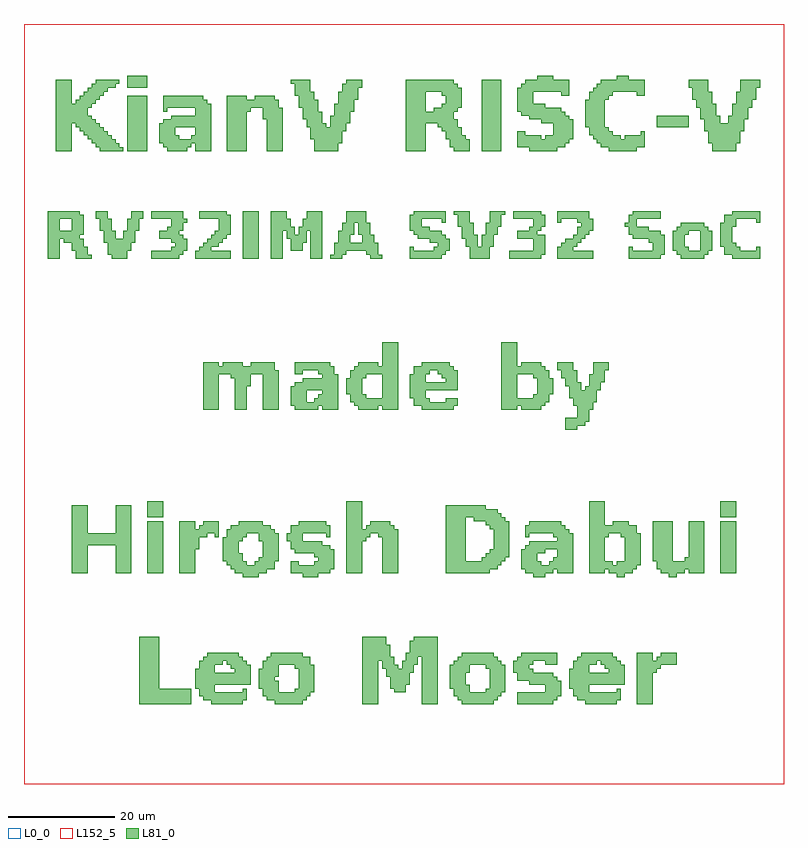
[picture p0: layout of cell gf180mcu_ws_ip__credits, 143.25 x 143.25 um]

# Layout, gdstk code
import gdstk
lib = gdstk.Library(unit=1e-6, precision=1e-09)
def R(c, l, rs):  # rectangles x0, y0, x1, y1
    for r in rs: c.add(gdstk.rectangle(r[:2], r[2:], *l))
def P(c, l, *ps):  # polygons
    for p in ps: c.add(gdstk.Polygon(p, *l))
L0_0 = (0, 0)
L81_0 = (81, 0)
L152_5 = (152, 5)

gf180mcu_ws_ip__credits = lib.new_cell('gf180mcu_ws_ip__credits')
R(gf180mcu_ws_ip__credits, L0_0, [(0,0,143.25,143.25)])
R(gf180mcu_ws_ip__credits, L81_0, [(23.25,39.75,26.25,49.5), (131.25,39.75,134.25,49.5), (23.25,50.25,26.25,53.25), (131.25,50.25,134.25,53.25), (41.25,99,44.25,108), (19.5,119.25,23.25,129.75), (86.25,119.25,90,132.75), (119.25,123.75,125.25,126), (19.5,131.25,23.25,133.5)])
P(gf180mcu_ws_ip__credits, L81_0, [(35.25,15),(35.25,15.75),(33.75,15.75),(33.75,16.5),(33,16.5),(33,18),(32.25,18),(32.25,21.75),(33,21.75),(33,23.25),(37.5,23.25),(37.5,22.5),(36,22.5),(36,21),(39.75,21),(39.75,21.75),(39,21.75),(39,22.5),(38.25,22.5),(38.25,23.25),(33.75,23.25),(33.75,24),(34.5,24),(34.5,24.75),(40.5,24.75),(40.5,24),(41.25,24),(41.25,23.25),(42,23.25),(42,22.5),(42.75,22.5),(42.75,18.75),(36,18.75),(36,17.25),(41.25,17.25),(41.25,18),(42,18),(42,15.75),(41.25,15.75),(41.25,15)],
  [(47.25,15),(47.25,15.75),(45.75,15.75),(45.75,16.5),(45,16.5),(45,18),(44.25,18),(44.25,21.75),(45,21.75),(45,22.5),(48,22.5),(48,20.25),(47.25,20.25),(47.25,19.5),(48,19.5),(48,17.25),(51,17.25),(51,18),(51.75,18),(51.75,21.75),(51,21.75),(51,22.5),(45,22.5),(45,23.25),(45.75,23.25),(45.75,24),(46.5,24),(46.5,24.75),(52.5,24.75),(52.5,24),(54,24),(54,22.5),(54.75,22.5),(54.75,17.25),(54,17.25),(54,16.5),(53.25,16.5),(53.25,15.75),(52.5,15.75),(52.5,15)],
  [(82.5,15),(82.5,15.75),(81.75,15.75),(81.75,16.5),(81,16.5),(81,18),(80.25,18),(80.25,22.5),(84,22.5),(84,21),(83.25,21),(83.25,18.75),(84,18.75),(84,17.25),(87,17.25),(87,18),(87.75,18),(87.75,21.75),(87,21.75),(87,22.5),(81,22.5),(81,23.25),(81.75,23.25),(81.75,24),(82.5,24),(82.5,24.75),(88.5,24.75),(88.5,24),(89.25,24),(89.25,23.25),(90,23.25),(90,22.5),(90.75,22.5),(90.75,17.25),(90,17.25),(90,16.5),(89.25,16.5),(89.25,15.75),(88.5,15.75),(88.5,15)],
  [(93,15),(93,17.25),(98.25,17.25),(98.25,18.75),(95.25,18.75),(95.25,19.5),(93,19.5),(93,21),(92.25,21),(92.25,23.25),(93,23.25),(93,24),(93.75,24),(93.75,24.75),(100.5,24.75),(100.5,22.5),(98.25,22.5),(98.25,23.25),(96,23.25),(96,22.5),(95.25,22.5),(95.25,21.75),(96,21.75),(96,21),(99.75,21),(99.75,20.25),(100.5,20.25),(100.5,19.5),(101.25,19.5),(101.25,16.5),(100.5,16.5),(100.5,15.75),(99.75,15.75),(99.75,15)],
  [(105.75,15),(105.75,15.75),(104.25,15.75),(104.25,16.5),(103.5,16.5),(103.5,18),(102.75,18),(102.75,21.75),(103.5,21.75),(103.5,23.25),(108,23.25),(108,22.5),(106.5,22.5),(106.5,21),(110.25,21),(110.25,21.75),(109.5,21.75),(109.5,22.5),(108.75,22.5),(108.75,23.25),(104.25,23.25),(104.25,24),(105,24),(105,24.75),(111,24.75),(111,24),(111.75,24),(111.75,23.25),(112.5,23.25),(112.5,22.5),(113.25,22.5),(113.25,18.75),(106.5,18.75),(106.5,17.25),(111.75,17.25),(111.75,18),(112.5,18),(112.5,15.75),(111.75,15.75),(111.75,15)],
  [(115.5,15),(115.5,24.75),(118.5,24.75),(118.5,23.25),(119.25,23.25),(119.25,24),(120,24),(120,24.75),(123,24.75),(123,22.5),(120,22.5),(120,21.75),(119.25,21.75),(119.25,21),(118.5,21),(118.5,15)],
  [(21.75,15),(21.75,27.75),(25.5,27.75),(25.5,18),(31.5,18),(31.5,15)],
  [(63.75,15),(63.75,27.75),(68.25,27.75),(68.25,26.25),(69,26.25),(69,24),(69.75,24),(69.75,22.5),(70.5,22.5),(70.5,21.75),(71.25,21.75),(71.25,23.25),(72,23.25),(72,24.75),(72.75,24.75),(72.75,27),(73.5,27),(73.5,27.75),(78,27.75),(78,15),(75,15),(75,24),(74.25,24),(74.25,22.5),(73.5,22.5),(73.5,21),(72.75,21),(72.75,18.75),(72,18.75),(72,17.25),(69.75,17.25),(69.75,18),(69,18),(69,20.25),(68.25,20.25),(68.25,21.75),(67.5,21.75),(67.5,23.25),(66.75,23.25),(66.75,15)],
  [(29.25,39.75),(29.25,49.5),(32.25,49.5),(32.25,48),(33,48),(33,48.75),(33.75,48.75),(33.75,49.5),(36.75,49.5),(36.75,46.5),(36,46.5),(36,47.25),(34.5,47.25),(34.5,46.5),(33,46.5),(33,44.25),(32.25,44.25),(32.25,39.75)],
  [(41.25,39),(41.25,39.75),(39.75,39.75),(39.75,40.5),(39,40.5),(39,41.25),(38.25,41.25),(38.25,42),(37.5,42),(37.5,46.5),(38.25,46.5),(38.25,47.25),(42,47.25),(42,46.5),(41.25,46.5),(41.25,45.75),(40.5,45.75),(40.5,43.5),(41.25,43.5),(41.25,42),(42,42),(42,41.25),(43.5,41.25),(43.5,42),(44.25,42),(44.25,42.75),(45,42.75),(45,45.75),(44.25,45.75),(44.25,47.25),(38.25,47.25),(38.25,48),(39,48),(39,48.75),(40.5,48.75),(40.5,49.5),(45,49.5),(45,48.75),(46.5,48.75),(46.5,48),(47.25,48),(47.25,47.25),(48,47.25),(48,42),(47.25,42),(47.25,40.5),(45.75,40.5),(45.75,39.75),(44.25,39.75),(44.25,39)],
  [(52.5,39),(52.5,39.75),(50.25,39.75),(50.25,42),(51.75,42),(51.75,41.25),(54.75,41.25),(54.75,42),(55.5,42),(55.5,42.75),(54.75,42.75),(54.75,43.5),(51,43.5),(51,44.25),(50.25,44.25),(50.25,45.75),(49.5,45.75),(49.5,47.25),(50.25,47.25),(50.25,48.75),(51.75,48.75),(51.75,49.5),(57,49.5),(57,48.75),(57.75,48.75),(57.75,46.5),(57,46.5),(57,47.25),(52.5,47.25),(52.5,45.75),(56.25,45.75),(56.25,45),(57.75,45),(57.75,44.25),(58.5,44.25),(58.5,40.5),(57.75,40.5),(57.75,39.75),(55.5,39.75),(55.5,39)],
  [(96,39),(96,39.75),(94.5,39.75),(94.5,40.5),(93.75,40.5),(93.75,44.25),(98.25,44.25),(98.25,43.5),(96.75,43.5),(96.75,42),(97.5,42),(97.5,41.25),(99,41.25),(99,42),(99.75,42),(99.75,42.75),(100.5,42.75),(100.5,44.25),(94.5,44.25),(94.5,45),(95.25,45),(95.25,45.75),(100.5,45.75),(100.5,46.5),(99.75,46.5),(99.75,47.25),(95.25,47.25),(95.25,46.5),(94.5,46.5),(94.5,48.75),(95.25,48.75),(95.25,49.5),(101.25,49.5),(101.25,48.75),(102,48.75),(102,48),(102.75,48),(102.75,47.25),(103.5,47.25),(103.5,39.75),(100.5,39.75),(100.5,40.5),(99.75,40.5),(99.75,39.75),(98.25,39.75),(98.25,39)],
  [(121.5,39),(121.5,39.75),(120,39.75),(120,40.5),(119.25,40.5),(119.25,42),(118.5,42),(118.5,49.5),(122.25,49.5),(122.25,42),(124.5,42),(124.5,42.75),(125.25,42.75),(125.25,49.5),(128.25,49.5),(128.25,39.75),(125.25,39.75),(125.25,40.5),(124.5,40.5),(124.5,39.75),(123,39.75),(123,39)],
  [(9,39.75),(9,52.5),(12,52.5),(12,47.25),(17.25,47.25),(17.25,52.5),(20.25,52.5),(20.25,39.75),(17.25,39.75),(17.25,45),(12,45),(12,39.75)],
  [(79.5,39.75),(79.5,50.25),(83.25,50.25),(83.25,42),(86.25,42),(86.25,42.75),(87,42.75),(87,43.5),(87.75,43.5),(87.75,44.25),(88.5,44.25),(88.5,48),(87.75,48),(87.75,48.75),(87,48.75),(87,49.5),(84.75,49.5),(84.75,50.25),(79.5,50.25),(79.5,52.5),(87,52.5),(87,51.75),(89.25,51.75),(89.25,51),(90,51),(90,50.25),(90.75,50.25),(90.75,49.5),(91.5,49.5),(91.5,42.75),(90.75,42.75),(90.75,42),(90,42),(90,41.25),(89.25,41.25),(89.25,40.5),(87.75,40.5),(87.75,39.75)],
  [(60.75,39.75),(60.75,53.25),(63.75,53.25),(63.75,48),(64.5,48),(64.5,48.75),(65.25,48.75),(65.25,49.5),(69,49.5),(69,48.75),(69.75,48.75),(69.75,48),(70.5,48),(70.5,39.75),(67.5,39.75),(67.5,46.5),(66.75,46.5),(66.75,47.25),(65.25,47.25),(65.25,46.5),(64.5,46.5),(64.5,45.75),(63.75,45.75),(63.75,39.75)],
  [(111.75,39),(111.75,39.75),(110.25,39.75),(110.25,40.5),(109.5,40.5),(109.5,39.75),(106.5,39.75),(106.5,47.25),(110.25,47.25),(110.25,46.5),(109.5,46.5),(109.5,42),(111,42),(111,41.25),(111.75,41.25),(111.75,42),(113.25,42),(113.25,46.5),(112.5,46.5),(112.5,47.25),(106.5,47.25),(106.5,53.25),(109.5,53.25),(109.5,48.75),(111,48.75),(111,49.5),(114,49.5),(114,48.75),(115.5,48.75),(115.5,47.25),(116.25,47.25),(116.25,41.25),(115.5,41.25),(115.5,40.5),(114.75,40.5),(114.75,39.75),(113.25,39.75),(113.25,39)],
  [(33.75,70.5),(33.75,79.5),(36.75,79.5),(36.75,78.75),(37.5,78.75),(37.5,79.5),(41.25,79.5),(41.25,78.75),(42.75,78.75),(42.75,79.5),(47.25,79.5),(47.25,78),(48,78),(48,70.5),(45,70.5),(45,77.25),(42.75,77.25),(42.75,75),(42,75),(42,70.5),(39.75,70.5),(39.75,76.5),(39,76.5),(39,77.25),(36.75,77.25),(36.75,70.5)],
  [(51,70.5),(51,71.25),(50.25,71.25),(50.25,74.25),(53.25,74.25),(53.25,72),(54.75,72),(54.75,72.75),(55.5,72.75),(55.5,73.5),(56.25,73.5),(56.25,74.25),(50.25,74.25),(50.25,75),(51,75),(51,75.75),(52.5,75.75),(52.5,76.5),(56.25,76.5),(56.25,77.25),(55.5,77.25),(55.5,78),(52.5,78),(52.5,77.25),(51,77.25),(51,79.5),(57.75,79.5),(57.75,78.75),(58.5,78.75),(58.5,77.25),(59.25,77.25),(59.25,70.5),(56.25,70.5),(56.25,71.25),(55.5,71.25),(55.5,70.5)],
  [(75,70.5),(75,71.25),(73.5,71.25),(73.5,72.75),(72.75,72.75),(72.75,77.25),(73.5,77.25),(73.5,78),(76.5,78),(76.5,77.25),(75.75,77.25),(75.75,75.75),(79.5,75.75),(79.5,76.5),(78.75,76.5),(78.75,77.25),(78,77.25),(78,78),(73.5,78),(73.5,78.75),(75,78.75),(75,79.5),(80.25,79.5),(80.25,78.75),(81,78.75),(81,78),(81.75,78),(81.75,74.25),(75.75,74.25),(75.75,72.75),(76.5,72.75),(76.5,72),(79.5,72),(79.5,72.75),(81.75,72.75),(81.75,71.25),(81,71.25),(81,70.5)],
  [(102,66.75),(102,69),(104.25,69),(104.25,71.25),(103.5,71.25),(103.5,72.75),(102.75,72.75),(102.75,75),(102,75),(102,76.5),(101.25,76.5),(101.25,78),(100.5,78),(100.5,79.5),(103.5,79.5),(103.5,78),(104.25,78),(104.25,75.75),(105,75.75),(105,74.25),(105.75,74.25),(105.75,75),(106.5,75),(106.5,77.25),(107.25,77.25),(107.25,79.5),(110.25,79.5),(110.25,78),(109.5,78),(109.5,75.75),(108.75,75.75),(108.75,74.25),(108,74.25),(108,72),(107.25,72),(107.25,70.5),(106.5,70.5),(106.5,68.25),(105.75,68.25),(105.75,67.5),(104.25,67.5),(104.25,66.75)],
  [(63,70.5),(63,71.25),(62.25,71.25),(62.25,72),(61.5,72),(61.5,73.5),(60.75,73.5),(60.75,76.5),(61.5,76.5),(61.5,77.25),(64.5,77.25),(64.5,76.5),(63.75,76.5),(63.75,73.5),(64.5,73.5),(64.5,72.75),(67.5,72.75),(67.5,77.25),(61.5,77.25),(61.5,78),(62.25,78),(62.25,78.75),(63,78.75),(63,79.5),(66.75,79.5),(66.75,78.75),(67.5,78.75),(67.5,83.25),(70.5,83.25),(70.5,70.5),(67.5,70.5),(67.5,71.25),(66.75,71.25),(66.75,70.5)],
  [(90,70.5),(90,77.25),(93,77.25),(93,72.75),(96,72.75),(96,73.5),(96.75,73.5),(96.75,76.5),(96,76.5),(96,77.25),(90,77.25),(90,83.25),(93,83.25),(93,78.75),(93.75,78.75),(93.75,79.5),(97.5,79.5),(97.5,78.75),(98.25,78.75),(98.25,78),(99,78),(99,76.5),(99.75,76.5),(99.75,73.5),(99,73.5),(99,72),(98.25,72),(98.25,71.25),(97.5,71.25),(97.5,70.5),(93.75,70.5),(93.75,71.25),(93,71.25),(93,70.5)],
  [(123.75,99),(123.75,99.75),(123,99.75),(123,100.5),(122.25,100.5),(122.25,104.25),(125.25,104.25),(125.25,103.5),(124.5,103.5),(124.5,101.25),(125.25,101.25),(125.25,100.5),(127.5,100.5),(127.5,104.25),(123,104.25),(123,105),(123.75,105),(123.75,105.75),(128.25,105.75),(128.25,105),(129,105),(129,104.25),(129.75,104.25),(129.75,100.5),(129,100.5),(129,99.75),(128.25,99.75),(128.25,99)],
  [(4.5,99),(4.5,106.5),(6.75,106.5),(6.75,104.25),(9,104.25),(9,106.5),(4.5,106.5),(4.5,108),(10.5,108),(10.5,107.25),(11.25,107.25),(11.25,103.5),(10.5,103.5),(10.5,102.75),(11.25,102.75),(11.25,101.25),(12,101.25),(12,99.75),(12.75,99.75),(12.75,99),(9.75,99),(9.75,100.5),(9,100.5),(9,102),(7.5,102),(7.5,102.75),(6.75,102.75),(6.75,99)],
  [(16.5,99),(16.5,99.75),(15.75,99.75),(15.75,102),(15,102),(15,104.25),(14.25,104.25),(14.25,106.5),(13.5,106.5),(13.5,108),(15.75,108),(15.75,106.5),(16.5,106.5),(16.5,104.25),(17.25,104.25),(17.25,102.75),(18.75,102.75),(18.75,104.25),(19.5,104.25),(19.5,106.5),(20.25,106.5),(20.25,108),(22.5,108),(22.5,106.5),(21.75,106.5),(21.75,104.25),(21,104.25),(21,102),(20.25,102),(20.25,100.5),(19.5,100.5),(19.5,99)],
  [(24,99),(24,100.5),(27.75,100.5),(27.75,101.25),(28.5,101.25),(28.5,102),(27.75,102),(27.75,102.75),(25.5,102.75),(25.5,104.25),(27,104.25),(27,105),(27.75,105),(27.75,106.5),(24,106.5),(24,108),(30,108),(30,106.5),(30.75,106.5),(30.75,105.75),(30,105.75),(30,104.25),(29.25,104.25),(29.25,103.5),(30,103.5),(30,102.75),(30.75,102.75),(30.75,100.5),(30,100.5),(30,99.75),(29.25,99.75),(29.25,99)],
  [(32.25,99),(32.25,100.5),(33,100.5),(33,101.25),(33.75,101.25),(33.75,102),(34.5,102),(34.5,102.75),(35.25,102.75),(35.25,103.5),(36,103.5),(36,104.25),(36.75,104.25),(36.75,106.5),(33,106.5),(33,108),(38.25,108),(38.25,107.25),(39,107.25),(39,103.5),(38.25,103.5),(38.25,102.75),(37.5,102.75),(37.5,102),(36.75,102),(36.75,101.25),(35.25,101.25),(35.25,100.5),(39,100.5),(39,99)],
  [(46.5,99),(46.5,108),(49.5,108),(49.5,106.5),(50.25,106.5),(50.25,105),(51,105),(51,103.5),(51.75,103.5),(51.75,105),(52.5,105),(52.5,106.5),(53.25,106.5),(53.25,108),(56.25,108),(56.25,99),(54,99),(54,104.25),(53.25,104.25),(53.25,102),(52.5,102),(52.5,100.5),(50.25,100.5),(50.25,102.75),(49.5,102.75),(49.5,104.25),(48.75,104.25),(48.75,99)],
  [(57.75,99),(57.75,99.75),(58.5,99.75),(58.5,102),(59.25,102),(59.25,104.25),(60,104.25),(60,105.75),(62.25,105.75),(62.25,103.5),(61.5,103.5),(61.5,102),(63.75,102),(63.75,103.5),(63,103.5),(63,105.75),(60.75,105.75),(60.75,108),(64.5,108),(64.5,105.75),(65.25,105.75),(65.25,103.5),(66,103.5),(66,102),(66.75,102),(66.75,99.75),(67.5,99.75),(67.5,99),(65.25,99),(65.25,99.75),(64.5,99.75),(64.5,100.5),(60.75,100.5),(60.75,99.75),(60,99.75),(60,99)],
  [(72.75,99),(72.75,101.25),(73.5,101.25),(73.5,100.5),(77.25,100.5),(77.25,101.25),(78,101.25),(78,102),(76.5,102),(76.5,102.75),(74.25,102.75),(74.25,103.5),(73.5,103.5),(73.5,104.25),(72.75,104.25),(72.75,107.25),(73.5,107.25),(73.5,108),(79.5,108),(79.5,105.75),(78.75,105.75),(78.75,106.5),(75,106.5),(75,105),(76.5,105),(76.5,104.25),(78.75,104.25),(78.75,103.5),(79.5,103.5),(79.5,102.75),(80.25,102.75),(80.25,100.5),(79.5,100.5),(79.5,99.75),(78.75,99.75),(78.75,99)],
  [(84,99),(84,101.25),(83.25,101.25),(83.25,102.75),(82.5,102.75),(82.5,105),(81.75,105),(81.75,107.25),(81,107.25),(81,108),(84,108),(84,105.75),(84.75,105.75),(84.75,103.5),(85.5,103.5),(85.5,101.25),(86.25,101.25),(86.25,103.5),(87,103.5),(87,105.75),(87.75,105.75),(87.75,108),(90.75,108),(90.75,107.25),(90,107.25),(90,105),(89.25,105),(89.25,103.5),(88.5,103.5),(88.5,101.25),(87.75,101.25),(87.75,99)],
  [(91.5,99),(91.5,100.5),(96,100.5),(96,102.75),(93,102.75),(93,104.25),(95.25,104.25),(95.25,105),(96,105),(96,106.5),(92.25,106.5),(92.25,108),(97.5,108),(97.5,107.25),(98.25,107.25),(98.25,105),(97.5,105),(97.5,104.25),(96.75,104.25),(96.75,103.5),(98.25,103.5),(98.25,99.75),(97.5,99.75),(97.5,99)],
  [(100.5,99),(100.5,101.25),(101.25,101.25),(101.25,102),(102,102),(102,102.75),(103.5,102.75),(103.5,103.5),(104.25,103.5),(104.25,105),(105,105),(105,105.75),(104.25,105.75),(104.25,106.5),(101.25,106.5),(101.25,105.75),(100.5,105.75),(100.5,108),(106.5,108),(106.5,106.5),(107.25,106.5),(107.25,104.25),(106.5,104.25),(106.5,103.5),(105.75,103.5),(105.75,102.75),(105,102.75),(105,102),(104.25,102),(104.25,101.25),(103.5,101.25),(103.5,100.5),(107.25,100.5),(107.25,99)],
  [(114,99),(114,101.25),(114.75,101.25),(114.75,100.5),(118.5,100.5),(118.5,102),(117.75,102),(117.75,102.75),(114.75,102.75),(114.75,103.5),(114,103.5),(114,105),(113.25,105),(113.25,105.75),(114,105.75),(114,107.25),(114.75,107.25),(114.75,108),(120,108),(120,106.5),(115.5,106.5),(115.5,105),(117.75,105),(117.75,104.25),(120,104.25),(120,103.5),(120.75,103.5),(120.75,99.75),(120,99.75),(120,99)],
  [(133.5,99),(133.5,99.75),(132,99.75),(132,101.25),(131.25,101.25),(131.25,105.75),(132,105.75),(132,107.25),(133.5,107.25),(133.5,108),(138.75,108),(138.75,105.75),(138,105.75),(138,106.5),(134.25,106.5),(134.25,105),(133.5,105),(133.5,102),(134.25,102),(134.25,101.25),(135,101.25),(135,100.5),(138,100.5),(138,101.25),(138.75,101.25),(138.75,99)],
  [(27,119.25),(27,120),(26.25,120),(26.25,120.75),(25.5,120.75),(25.5,123.75),(28.5,123.75),(28.5,122.25),(29.25,122.25),(29.25,121.5),(31.5,121.5),(31.5,122.25),(32.25,122.25),(32.25,123.75),(25.5,123.75),(25.5,124.5),(26.25,124.5),(26.25,125.25),(27.75,125.25),(27.75,126),(32.25,126),(32.25,127.5),(27,127.5),(27,126.75),(26.25,126.75),(26.25,129.75),(33.75,129.75),(33.75,129),(34.5,129),(34.5,128.25),(35.25,128.25),(35.25,119.25),(32.25,119.25),(32.25,120.75),(31.5,120.75),(31.5,120),(30.75,120),(30.75,119.25)],
  [(38.25,119.25),(38.25,129.75),(42,129.75),(42,129),(43.5,129),(43.5,129.75),(47.25,129.75),(47.25,129),(48,129),(48,127.5),(48.75,127.5),(48.75,119.25),(45.75,119.25),(45.75,125.25),(45,125.25),(45,127.5),(42.75,127.5),(42.75,126.75),(42,126.75),(42,119.25)],
  [(6,119.25),(6,132.75),(9,132.75),(9,128.25),(9.75,128.25),(9.75,129),(10.5,129),(10.5,129.75),(11.25,129.75),(11.25,130.5),(12,130.5),(12,131.25),(12.75,131.25),(12.75,132),(13.5,132),(13.5,132.75),(18,132.75),(18,132),(17.25,132),(17.25,131.25),(15.75,131.25),(15.75,130.5),(15,130.5),(15,129.75),(14.25,129.75),(14.25,129),(13.5,129),(13.5,128.25),(12.75,128.25),(12.75,127.5),(12,127.5),(12,126),(12.75,126),(12.75,125.25),(13.5,125.25),(13.5,124.5),(14.25,124.5),(14.25,123.75),(15,123.75),(15,123),(15.75,123),(15.75,122.25),(16.5,122.25),(16.5,121.5),(17.25,121.5),(17.25,120.75),(18,120.75),(18,120),(18.75,120),(18.75,119.25),(14.25,119.25),(14.25,120),(13.5,120),(13.5,120.75),(12.75,120.75),(12.75,121.5),(12,121.5),(12,122.25),(11.25,122.25),(11.25,123),(10.5,123),(10.5,123.75),(9.75,123.75),(9.75,124.5),(9,124.5),(9,119.25)],
  [(54.75,119.25),(54.75,121.5),(54,121.5),(54,123.75),(53.25,123.75),(53.25,125.25),(52.5,125.25),(52.5,127.5),(51.75,127.5),(51.75,129.75),(51,129.75),(51,132),(50.25,132),(50.25,132.75),(54,132.75),(54,130.5),(54.75,130.5),(54.75,129),(55.5,129),(55.5,126.75),(56.25,126.75),(56.25,124.5),(57,124.5),(57,123.75),(57.75,123.75),(57.75,126),(58.5,126),(58.5,128.25),(59.25,128.25),(59.25,130.5),(60,130.5),(60,132),(60.75,132),(60.75,132.75),(63.75,132.75),(63.75,131.25),(63,131.25),(63,129),(62.25,129),(62.25,126.75),(61.5,126.75),(61.5,124.5),(60.75,124.5),(60.75,123),(60,123),(60,120.75),(59.25,120.75),(59.25,119.25)],
  [(72,119.25),(72,130.5),(75.75,130.5),(75.75,126.75),(77.25,126.75),(77.25,127.5),(78.75,127.5),(78.75,128.25),(79.5,128.25),(79.5,129.75),(78.75,129.75),(78.75,130.5),(72,130.5),(72,132.75),(81,132.75),(81,132),(81.75,132),(81.75,131.25),(82.5,131.25),(82.5,127.5),(81.75,127.5),(81.75,126.75),(81,126.75),(81,125.25),(81.75,125.25),(81.75,123.75),(82.5,123.75),(82.5,122.25),(83.25,122.25),(83.25,121.5),(84,121.5),(84,119.25),(81,119.25),(81,120),(80.25,120),(80.25,121.5),(79.5,121.5),(79.5,123),(78.75,123),(78.75,123.75),(78,123.75),(78,124.5),(75.75,124.5),(75.75,119.25)],
  [(129.75,119.25),(129.75,120.75),(129,120.75),(129,123),(128.25,123),(128.25,125.25),(127.5,125.25),(127.5,127.5),(126.75,127.5),(126.75,129),(126,129),(126,131.25),(125.25,131.25),(125.25,132.75),(129,132.75),(129,130.5),(129.75,130.5),(129.75,128.25),(130.5,128.25),(130.5,126),(131.25,126),(131.25,124.5),(132.75,124.5),(132.75,126),(133.5,126),(133.5,128.25),(134.25,128.25),(134.25,130.5),(135,130.5),(135,132.75),(138.75,132.75),(138.75,131.25),(138,131.25),(138,129),(137.25,129),(137.25,127.5),(136.5,127.5),(136.5,125.25),(135.75,125.25),(135.75,123),(135,123),(135,120.75),(134.25,120.75),(134.25,119.25)],
  [(95.25,119.25),(95.25,120),(93,120),(93,123),(94.5,123),(94.5,122.25),(97.5,122.25),(97.5,121.5),(98.25,121.5),(98.25,122.25),(99.75,122.25),(99.75,124.5),(97.5,124.5),(97.5,125.25),(95.25,125.25),(95.25,126),(93.75,126),(93.75,126.75),(93,126.75),(93,131.25),(93.75,131.25),(93.75,132),(94.5,132),(94.5,132.75),(96.75,132.75),(96.75,133.5),(99.75,133.5),(99.75,132.75),(102.75,132.75),(102.75,129.75),(101.25,129.75),(101.25,130.5),(96,130.5),(96,128.25),(98.25,128.25),(98.25,127.5),(101.25,127.5),(101.25,126.75),(102,126.75),(102,126),(102.75,126),(102.75,125.25),(103.5,125.25),(103.5,121.5),(102.75,121.5),(102.75,120.75),(102,120.75),(102,120),(100.5,120),(100.5,119.25)],
  [(110.25,119.25),(110.25,120),(108.75,120),(108.75,120.75),(108,120.75),(108,121.5),(107.25,121.5),(107.25,122.25),(106.5,122.25),(106.5,123.75),(105.75,123.75),(105.75,129),(106.5,129),(106.5,130.5),(107.25,130.5),(107.25,131.25),(108,131.25),(108,132),(108.75,132),(108.75,132.75),(111.75,132.75),(111.75,133.5),(114,133.5),(114,132.75),(117,132.75),(117,129.75),(115.5,129.75),(115.5,130.5),(111,130.5),(111,129.75),(110.25,129.75),(110.25,129),(109.5,129),(109.5,123.75),(110.25,123.75),(110.25,123),(111,123),(111,122.25),(112.5,122.25),(112.5,121.5),(113.25,121.5),(113.25,122.25),(116.25,122.25),(116.25,123),(117,123),(117,120),(115.5,120),(115.5,119.25)])
R(gf180mcu_ws_ip__credits, L152_5, [(0,0,143.25,143.25)])

lib.write_gds('gf180mcu_ws_ip__credits.gds')
